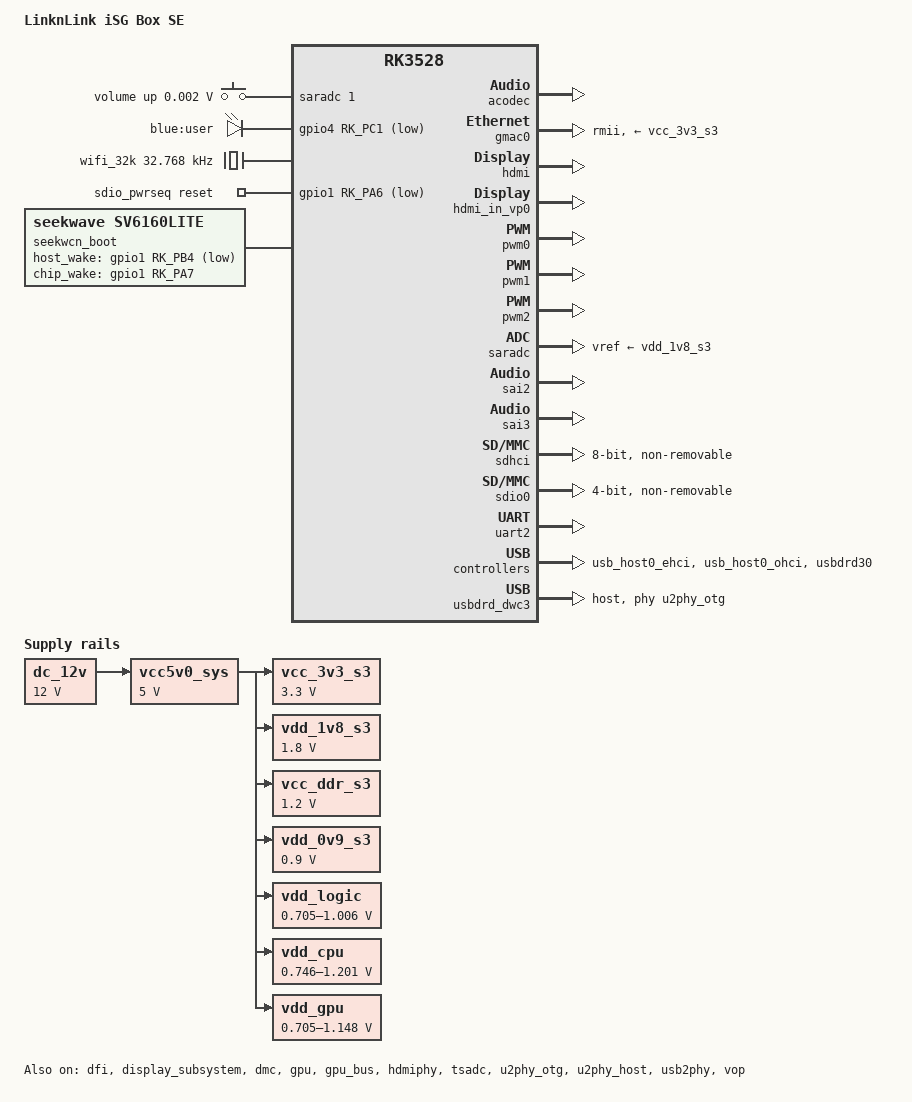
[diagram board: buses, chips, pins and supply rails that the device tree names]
/dts-v1/;

#include <dt-bindings/gpio/gpio.h>
#include <dt-bindings/input/rk-input.h>
#include <dt-bindings/pinctrl/rockchip.h>
#include "rk3528.dtsi"

/ {
	model = "LinknLink iSG Box SE";
	compatible = "linknlink,isg-box-se", "rockchip,rk3528";

	aliases {
		ethernet0 = &gmac0;
		mmc0 = &sdhci;
		mmc1 = &sdio0;
	};

	chosen {
		stdout-path = "serial2:1500000n8";
		bootargs = "console=ttyS2,1500000 earlycon=uart8250,mmio32,0xffa00000";
	};

	reserved_memory: reserved-memory {
		#address-cells = <2>;
		#size-cells = <2>;
		ranges;

		drm_logo: drm-logo@0 {
			compatible = "rockchip,drm-logo";
			reg = <0x0 0x0 0x0 0x0>;
		};

		drm_cubic_lut: drm-cubic-lut@0 {
			compatible = "rockchip,drm-cubic-lut";
			reg = <0x0 0x0 0x0 0x0>;
		};
	};

	adc_keys: adc-keys {
		compatible = "adc-keys";
		io-channels = <&saradc 1>;
		io-channel-names = "buttons";
		keyup-threshold-microvolt = <1800000>;
		poll-interval = <100>;
		status = "okay";

		vol-up-key {
			label = "volume up";
			linux,code = <KEY_VOLUMEUP>;
			press-threshold-microvolt = <1750>;
		};
	};

	dc_12v: dc-12v {
		compatible = "regulator-fixed";
		regulator-name = "dc_12v";
		regulator-always-on;
		regulator-boot-on;
		regulator-min-microvolt = <12000000>;
		regulator-max-microvolt = <12000000>;
	};

	vcc5v0_sys: vcc5v0-sys {
		compatible = "regulator-fixed";
		regulator-name = "vcc5v0_sys";
		regulator-always-on;
		regulator-boot-on;
		regulator-min-microvolt = <5000000>;
		regulator-max-microvolt = <5000000>;
		vin-supply = <&dc_12v>;
	};

	vcc_3v3_s3: vcc-3v3-s3 {
		compatible = "regulator-fixed";
		regulator-name = "vcc_3v3_s3";
		regulator-always-on;
		regulator-boot-on;
		regulator-min-microvolt = <3300000>;
		regulator-max-microvolt = <3300000>;
		vin-supply = <&vcc5v0_sys>;
	};

	vdd_1v8_s3: vdd-1v8-s3 {
		compatible = "regulator-fixed";
		regulator-name = "vdd_1v8_s3";
		regulator-always-on;
		regulator-boot-on;
		regulator-min-microvolt = <1800000>;
		regulator-max-microvolt = <1800000>;
		vin-supply = <&vcc5v0_sys>;
	};

	vcc_ddr_s3: vcc-ddr-s3 {
		compatible = "regulator-fixed";
		regulator-name = "vcc_ddr_s3";
		regulator-always-on;
		regulator-boot-on;
		regulator-min-microvolt = <1200000>;
		regulator-max-microvolt = <1200000>;
		vin-supply = <&vcc5v0_sys>;
	};

	vdd_0v9_s3: vdd-0v9-s3 {
		compatible = "regulator-fixed";
		regulator-name = "vdd_0v9_s3";
		regulator-always-on;
		regulator-boot-on;
		regulator-min-microvolt = <900000>;
		regulator-max-microvolt = <900000>;
		vin-supply = <&vcc5v0_sys>;
	};

	vdd_logic: vdd-logic {
		compatible = "pwm-regulator";
		pwms = <&pwm2 0 5000 1>;
		regulator-name = "vdd_logic";
		regulator-min-microvolt = <705000>;
		regulator-max-microvolt = <1006000>;
		regulator-init-microvolt = <950000>;
		regulator-always-on;
		regulator-boot-on;
		regulator-settling-time-up-us = <250>;
		pwm-supply = <&vcc5v0_sys>;
		status = "okay";
	};

	vdd_cpu: vdd-cpu {
		compatible = "pwm-regulator";
		pwms = <&pwm1 0 5000 1>;
		regulator-name = "vdd_cpu";
		regulator-min-microvolt = <746000>;
		regulator-max-microvolt = <1201000>;
		regulator-init-microvolt = <953000>;
		regulator-always-on;
		regulator-boot-on;
		regulator-settling-time-up-us = <250>;
		pwm-supply = <&vcc5v0_sys>;
		status = "okay";
	};

	vdd_gpu: vdd-gpu {
		compatible = "pwm-regulator";
		pwms = <&pwm0 0 5000 1>;
		regulator-name = "vdd_gpu";
		regulator-min-microvolt = <705000>;
		regulator-max-microvolt = <1148000>;
		regulator-init-microvolt = <900000>;
		regulator-always-on;
		regulator-boot-on;
		regulator-settling-time-up-us = <250>;
		pwm-supply = <&vcc5v0_sys>;
		status = "okay";
	};

	gpio_leds: gpio-leds {
		compatible = "gpio-leds";
		pinctrl-names = "default";
		pinctrl-0 = <&led_blue_en>;

		led_blue: led-blue {
			label = "blue:user";
			gpios = <&gpio4 RK_PC1 GPIO_ACTIVE_LOW>;
		};
	};

	wifi_32k: wifi-32k-clock {
		compatible = "fixed-clock";
		#clock-cells = <0>;
		clock-frequency = <32768>;
		clock-output-names = "wifi_32k";
	};

	sdio_pwrseq: sdio-pwrseq {
		compatible = "mmc-pwrseq-simple";
		pinctrl-names = "default";
		pinctrl-0 = <&wifi_enable_h &clkm1_32k_out>;
		post-power-on-delay-ms = <200>;
		reset-gpios = <&gpio1 RK_PA6 GPIO_ACTIVE_LOW>;
		status = "okay";
	};

	wireless_wlan: wireless-wlan {
		compatible = "wlan-platdata";
		clocks = <&wifi_32k>;
		clock-names = "clk_wifi";
		ref-clock-frequency = <32768>;
		rockchip,grf = <&grf>;
		wifi_chip_type = "seekwave";
		keep_wifi_power_on;
		pinctrl-names = "default";
		pinctrl-0 = <&wifi_enable_h &wifi_host_wake_irq>;
		WIFI,poweren_gpio = <&gpio1 RK_PA6 GPIO_ACTIVE_HIGH>;
		WIFI,host_wake_irq = <&gpio1 RK_PA7 GPIO_ACTIVE_HIGH>;
		status = "disabled";
	};

	seekwcn_boot: seekwcn-boot {
		compatible = "seekwave,sv6160lite", "seekwave,sv6160";
		dma_type = <2>;
		skw_iram_path = "SWT6621S_IRAM_SDIO.bin";
		skw_dram_path = "SWT6621S_DRAM_SDIO.bin";
		seekwave_nv_name = "SWT6621S_NV_SDIO.bin";
		pinctrl-names = "default";
		pinctrl-0 = <&skw_host_wake_gpio &wifi_host_wake_irq>;
		gpio_host_wake = <&gpio1 RK_PB4 GPIO_ACTIVE_LOW>;
		gpio_chip_wake = <&gpio1 RK_PA7 GPIO_ACTIVE_HIGH>;
		status = "okay";
	};

	acodec_sound: acodec-sound {
		compatible = "simple-audio-card";
		simple-audio-card,name = "rk3528-acodec";
		simple-audio-card,format = "i2s";
		simple-audio-card,mclk-fs = <256>;
		simple-audio-card,cpu {
			sound-dai = <&sai2>;
		};
		simple-audio-card,codec {
			sound-dai = <&acodec>;
		};
	};

	hdmi_sound: hdmi-sound {
		compatible = "rockchip,hdmi";
		rockchip,mclk-fs = <128>;
		rockchip,card-name = "rockchip,hdmi";
		rockchip,cpu = <&sai3>;
		rockchip,codec = <&hdmi>;
		rockchip,jack-det;
		status = "okay";
	};
};

&acodec {
	status = "okay";
};

&cpu0 {
	cpu-supply = <&vdd_cpu>;
};

&dfi {
	status = "okay";
};

&display_subsystem {
	memory-region = <&drm_logo>, <&drm_cubic_lut>;
	memory-region-names = "drm-logo", "drm-cubic-lut";
	status = "okay";

	route {
		route_hdmi: route-hdmi {
			status = "okay";
			logo,uboot = "logo.bmp";
			logo,kernel = "logo_kernel.bmp";
			logo,mode = "center";
			charge_logo,mode = "center";
			connect = <&vp0_out_hdmi>;
		};
	};
};

&dmc {
	center-supply = <&vdd_logic>;
	status = "okay";
};

&gmac0 {
	phy-mode = "rmii";
	phy-supply = <&vcc_3v3_s3>;
	status = "okay";
};

&gpu {
	mali-supply = <&vdd_gpu>;
	status = "okay";
};

&gpu_bus {
	bus-supply = <&vdd_logic>;
	status = "okay";
};

&hdmi {
	status = "okay";
};

&hdmi_in_vp0 {
	status = "okay";
};

&hdmiphy {
	status = "okay";
};

&pwm0 {
	status = "okay";
};

&pwm1 {
	status = "okay";
};

&pwm2 {
	status = "okay";
};

&saradc {
	vref-supply = <&vdd_1v8_s3>;
	status = "okay";
};

&sai2 {
	status = "okay";
};

&sai3 {
	status = "okay";
};

&sdhci {
	bus-width = <8>;
	no-sd;
	no-sdio;
	non-removable;
	mmc-hs200-1_8v;
	status = "okay";
};

&sdio0 {
	max-frequency = <200000000>;
	no-sd;
	no-mmc;
	supports-sdio;
	bus-width = <4>;
	disable-wp;
	cap-sd-highspeed;
	cap-sdio-irq;
	keep-power-in-suspend;
	non-removable;
	mmc-pwrseq = <&sdio_pwrseq>;
	pinctrl-names = "default";
	pinctrl-0 = <&sdio0_bus4 &sdio0_cmd &sdio0_clk>;
	sd-uhs-sdr104;
	/delete-property/ rockchip,use-v2-tuning;
	status = "okay";
};

&sdio1 {
	status = "disabled";
};

&sdmmc {
	status = "disabled";
};

&tsadc {
	status = "okay";
};

&uart2 {
	status = "okay";
};

&u2phy_otg {
	phy-supply = <&vcc5v0_sys>;
	vbus-supply = <&vcc_3v3_s3>;
	status = "okay";
};

&u2phy_host {
	phy-supply = <&vcc5v0_sys>;
	status = "okay";
};

&usb2phy {
	status = "okay";
};

&usb_host0_ehci {
	status = "okay";
};

&usb_host0_ohci {
	status = "okay";
};

&usbdrd30 {
	status = "okay";
};

&usbdrd_dwc3 {
	dr_mode = "host";
	phys = <&u2phy_otg>;
	phy-names = "usb2-phy";
	maximum-speed = "high-speed";
	snps,dis_u2_susphy_quirk;
	snps,usb2-lpm-disable;
	status = "okay";
};

&vop {
	status = "okay";
};

&vop_mmu {
	status = "okay";
};

&pinctrl {
	leds {
		led_blue_en: led-blue-en {
			rockchip,pins = <4 RK_PC1 RK_FUNC_GPIO &pcfg_pull_none>;
		};
	};

	sdio-pwrseq {
		wifi_enable_h: wifi-enable-h {
			rockchip,pins = <1 RK_PA6 RK_FUNC_GPIO &pcfg_pull_none>;
		};
	};

	wireless-wlan {
		wifi_host_wake_irq: wifi-host-wake-irq {
			rockchip,pins = <1 RK_PA7 RK_FUNC_GPIO &pcfg_pull_down>;
		};

		skw_host_wake_gpio: skw-host-wake-gpio {
			rockchip,pins = <1 RK_PB4 RK_FUNC_GPIO &pcfg_pull_up>;
		};
	};
};
